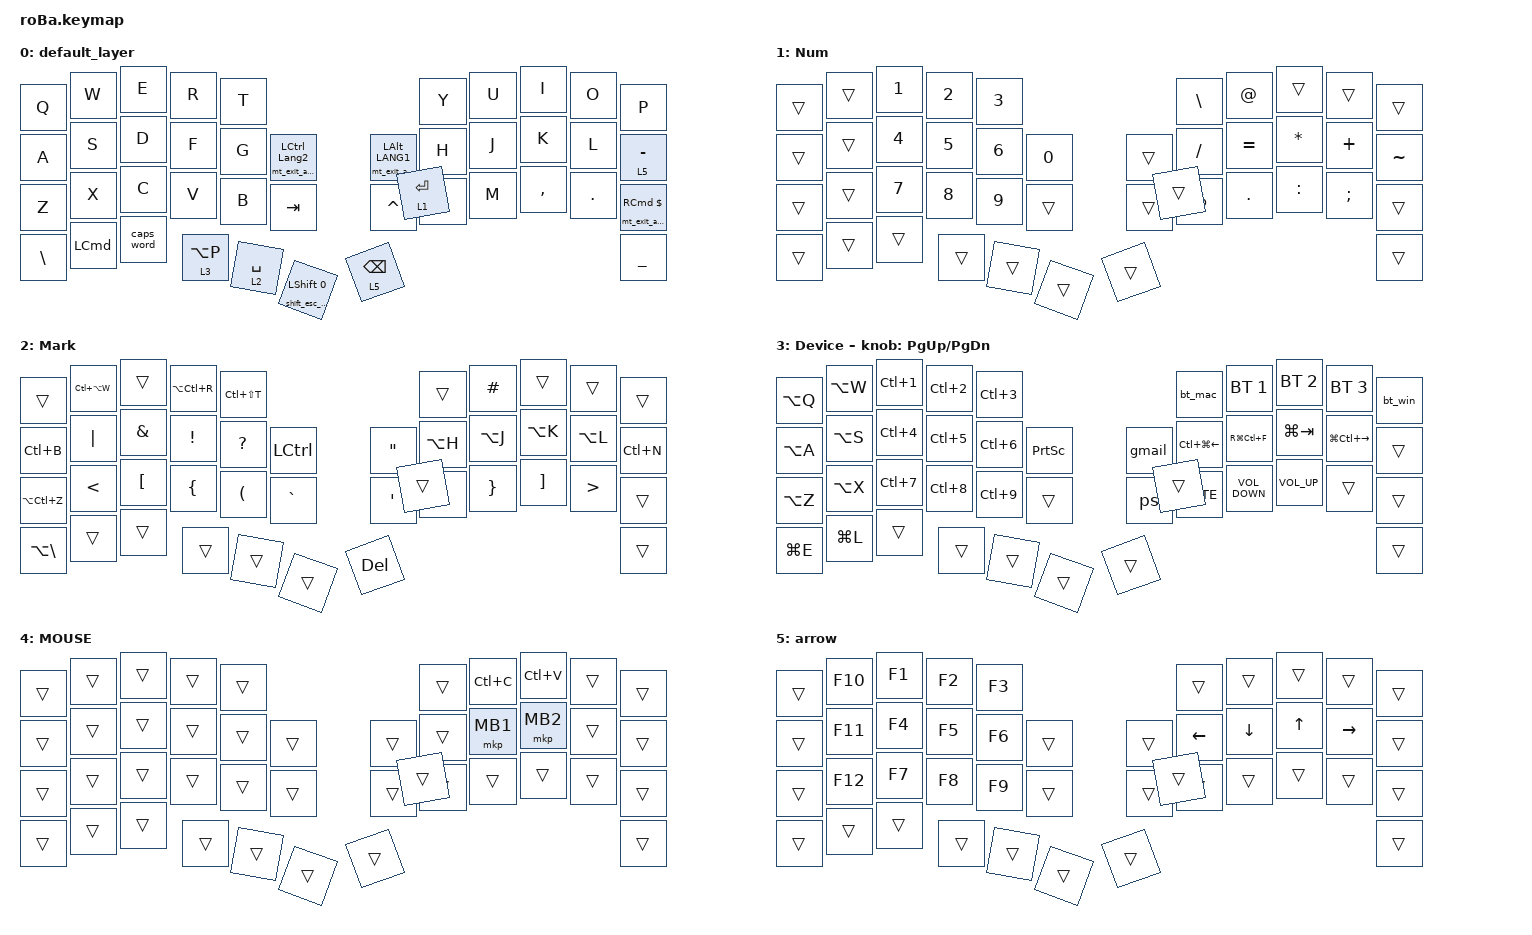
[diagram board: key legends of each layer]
#include <behaviors.dtsi>
#include <layout_shift_kp_override.dtsi>
#include <dt-bindings/zmk/bt.h>
#include <dt-bindings/zmk/keys.h>
#include <dt-bindings/zmk/pointing.h>

// US配列前提のキーコードを、JIS配列設定のOS(Windows)向けに実行時変換する。
// &kp をグローバルに上書きするので既存キーマップはそのまま使える。
// !!! 必ず behaviors.dtsi より「下」に置くこと（上に置くと &kp が未定義になり壊れる）。
// GUI(keymap-editor)で保存するとこの行が先頭へ移動して壊れるが、
// ビルド時に .github/workflows/build.yml が自動で正しい順序へ並べ替える。
//
// 注意: 下の layout-maps 行は削除しないこと。これが US->JIS マップノードを
// 参照して有効化している（消すと /omit-if-no-ref/ でマップが消えビルドが壊れる）。

&tog_ls { layout-maps = <&layout_shift_map_us_to_jis>; };

&tog_ls_on { layout-maps = <&layout_shift_map_us_to_jis>; };

&tog_ls_off { layout-maps = <&layout_shift_map_us_to_jis>; };

&mt {
    flavor = "balanced";
    quick-tap-ms = <0>;
};

&trackball {
    scroll-layers = <5>;

    // arrows {
    //     layers = <3>;
    //     bindings =
    //         <&kp RIGHT_ARROW>,
    //         <&kp LEFT_ARROW>,
    //         <&kp UP_ARROW>,
    //         <&kp DOWN_ARROW>;
    //     tick = <10>;
    //     wait-ms = <5>;
    //     tap-ms = <5>;
    // };
};

/ {
    combos {
        compatible = "zmk,combos";

        tmux_vmode {
            bindings = <&tmux_vmode>;
            key-positions = <39 26>;
        };
    };

    macros {
        // BTプロファイル切替と同時にレイアウトシフト(US/JIS)を切り替える。
        // mac    = プロファイル1(BT_SEL 0) → US(レイアウトシフトOFF)
        // Windows = プロファイル5(BT_SEL 4) → JIS(レイアウトシフトON)

        bt_mac: bt_mac {
            compatible = "zmk,behavior-macro";
            #binding-cells = <0>;
            bindings = <&bt BT_SEL 0 &tog_ls_off>;
            label = "BT_MAC";
        };

        bt_win: bt_win {
            compatible = "zmk,behavior-macro";
            #binding-cells = <0>;
            bindings = <&bt BT_SEL 4 &tog_ls_on>;
            label = "BT_WIN";
        };

        gmail: mail {
            compatible = "zmk,behavior-macro";
            #binding-cells = <0>;
            bindings = <&kp A &kp R &kp A &kp T &kp A &kp K &kp A &kp J &kp I &kp N0 &kp N7 &kp AT &kp G &kp M &kp A &kp I &kp L &kp DOT &kp C &kp O &kp M>;
            label = "MAIL";
        };

        coment_out: coment_out {
            compatible = "zmk,behavior-macro";
            #binding-cells = <0>;
            bindings = <&none &kp G &kp C &kp C>;
            label = "COMENT_OUT";
        };

        tmux_vmode: tmux_vmode {
            compatible = "zmk,behavior-macro";
            #binding-cells = <0>;
            bindings = <&kp LC(B) &kp V>;
            label = "TMUX_VMODE";
        };

        ps: ps {
            compatible = "zmk,behavior-macro";
            #binding-cells = <0>;
            bindings = <&none &kp LS(A) &kp R &kp A &kp T &kp A &kp N8 &kp N1 &kp N6 &kp N2>;
            label = "PS";
        };

        // hold-tap のタップ側で使うマクロ: ESC を送ってから LANG2(英数)へ切り替える。
        // hold-tap のタップ側に渡すため one-param 形式にしている(引数は未使用)。
        // IME変換中に composition が消える場合は ESC と LANG2 の順序を入れ替えると改善することがある。
        // ロータリーエンコーダ用: 回転をマウスホイールスクロールに割り当てる behavior。
        // 1つ目(時計回り)=下スクロール, 2つ目(反時計回り)=上スクロール。
        // 逆にしたい場合は SCRL_DOWN と SCRL_UP を入れ替える。
        // スクロール量は triggers-per-rotation(roBa.dtsi) と tap-ms で調整。
        // もっと大きく動かしたい時は #include 群の前に
        //   #define ZMK_MOUSE_DEFAULT_SCRL_VAL <値>
        // を追加する。

        scroll_up_down: scroll_up_down {
            compatible = "zmk,behavior-sensor-rotate";
            #sensor-binding-cells = <0>;
            bindings = <&msc SCRL_DOWN>, <&msc SCRL_UP>;

            tap-ms = <20>;
        };
    };

    behaviors {
        // 長押し = LEFT_SHIFT / タップ = ESC + LANG2(英数)
        // 旧 &mt LEFT_SHIFT ESCAPE の置き換え。&mt と違いタップ側にマクロを使える。
        // 使い方: &shift_esc_eisu LEFT_SHIFT 0  (2番目の引数 0 は未使用のダミー)
    };

    keymap {
        compatible = "zmk,keymap";

        default_layer {
            bindings = <
&kp Q          &kp W             &kp E       &kp R        &kp T                                                                                  &kp Y        &kp U  &kp I      &kp O    &kp P
&kp A          &kp S             &kp D       &kp F        &kp G        &mt_exit_aml_on_tap LCTRL LANGUAGE_2      &mt_exit_aml_on_tap LALT LANG1  &kp H        &kp J  &kp K      &kp L    &lt 5 MINUS
&kp Z          &kp X             &kp C       &kp V        &kp B        &kp TAB                                   &kp CARET                       &kp N        &kp M  &kp COMMA  &kp DOT  &mt_exit_aml_on_tap RIGHT_COMMAND DOLLAR
&kp BACKSLASH  &kp LEFT_COMMAND  &caps_word  &lt 3 LA(P)  &lt 2 SPACE  &shift_esc_eisu LEFT_SHIFT 0              &lt 5 BACKSPACE                 &lt 1 ENTER                             &kp UNDERSCORE
            >;

            // エンコーダ: マウスホイールスクロール（旧: &inc_dec_kp PAGE_DOWN PAGE_UP）
        };

        Num {
            bindings = <
&trans  &trans  &kp NUMBER_1  &kp NUMBER_2  &kp NUMBER_3                            &kp BACKSLASH  &kp AT_SIGN  &trans        &trans         &trans
&trans  &trans  &kp NUMBER_4  &kp NUMBER_5  &kp NUMBER_6  &kp NUMBER_0      &trans  &kp SLASH      &kp EQUAL    &kp ASTERISK  &kp PLUS       &kp TILDE
&trans  &trans  &kp NUMBER_7  &kp NUMBER_8  &kp NUMBER_9  &trans            &trans  &kp PERCENT    &kp PERIOD   &kp COLON     &kp SEMICOLON  &trans
&trans  &trans  &trans        &trans        &trans        &trans            &trans  &trans                                                   &trans
            >;
        };

        Mark {
            bindings = <
&trans             &kp LC(LA(W))  &trans            &kp LA(LC(R))   &kp LC(LS(T))                                           &trans                 &kp HASH         &trans             &trans            &trans
&kp LC(B)          &kp PIPE       &kp AMPERSAND     &kp EXCL        &kp QUESTION          &kp LCTRL      &kp DOUBLE_QUOTES  &kp LA(H)              &kp LA(J)        &kp LA(K)          &kp LA(L)         &kp LC(N)
&kp LA(LC(Z))      &kp LESS_THAN  &kp LEFT_BRACKET  &kp LEFT_BRACE  &kp LEFT_PARENTHESIS  &kp GRAVE      &kp SINGLE_QUOTE   &kp RIGHT_PARENTHESIS  &kp RIGHT_BRACE  &kp RIGHT_BRACKET  &kp GREATER_THAN  &trans
&kp LA(BACKSLASH)  &trans         &trans            &trans          &trans                &trans         &kp DELETE         &trans                                                                       &trans
            >;
        };

        Device {
            bindings = <
&kp LA(Q)  &kp LA(W)  &kp LC(NUMBER_1)  &kp LC(NUMBER_2)  &kp LC(NUMBER_3)                               &bt_mac                 &bt BT_SEL 1       &bt BT_SEL 2     &bt BT_SEL 3             &bt_win
&kp LA(A)  &kp LA(S)  &kp LC(NUMBER_4)  &kp LC(NUMBER_5)  &kp LC(NUMBER_6)  &kp PRINTSCREEN      &gmail  &kp LC(LG(LEFT_ARROW))  &kp RG(LC(F))      &kp LG(TAB)      &kp LG(LC(RIGHT_ARROW))  &trans
&kp LA(Z)  &kp LA(X)  &kp LC(NUMBER_7)  &kp LC(NUMBER_8)  &kp LC(NUMBER_9)  &trans               &ps     &kp K_MUTE              &kp C_VOLUME_DOWN  &kp C_VOLUME_UP  &trans                   &trans
&kp LG(E)  &kp LG(L)  &trans            &trans            &trans            &trans               &trans  &trans                                                                               &trans
            >;

            sensor-bindings = <&inc_dec_kp PAGE_UP PAGE_DOWN>;
        };

        MOUSE {
            bindings = <
&trans  &trans  &trans  &trans  &trans                      &trans  &kp LC(C)  &kp LC(V)  &trans  &trans
&trans  &trans  &trans  &trans  &trans  &trans      &trans  &trans  &mkp MB1   &mkp MB2   &trans  &trans
&trans  &trans  &trans  &trans  &trans  &trans      &trans  &trans  &trans     &trans     &trans  &trans
&trans  &trans  &trans  &trans  &trans  &trans      &trans  &trans                                &trans
            >;
        };

        // ===== トラックボール・スクロール用レイヤー (index 5) =====
        // このレイヤーがアクティブな間、トラックボールの移動がスクロールになる
        // (&trackball の scroll-layers = <5> がこのレイヤーを指している)。
        //
        // 【使い方】呼び出しキーは未設定。好きなキーに後から割り当ててください。
        //   例) 押している間だけスクロール:  &mo 5
        //   例) タップ=元の文字 / ホールド=スクロール:  &lt 5 <KEY>
        // 中身は全て &trans なので、スクロール中も下位レイヤーのキーがそのまま使えます。

        arrow {
            bindings = <
&trans  &kp F10  &kp F1  &kp F2  &kp F3                      &trans    &trans    &trans  &trans     &trans
&trans  &kp F11  &kp F4  &kp F5  &kp F6  &trans      &trans  &kp LEFT  &kp DOWN  &kp UP  &kp RIGHT  &trans
&trans  &kp F12  &kp F7  &kp F8  &kp F9  &trans      &trans  &trans    &trans    &trans  &trans     &trans
&trans  &trans   &trans  &trans  &trans  &trans      &trans  &trans                                 &trans
            >;
        };
    };
};
